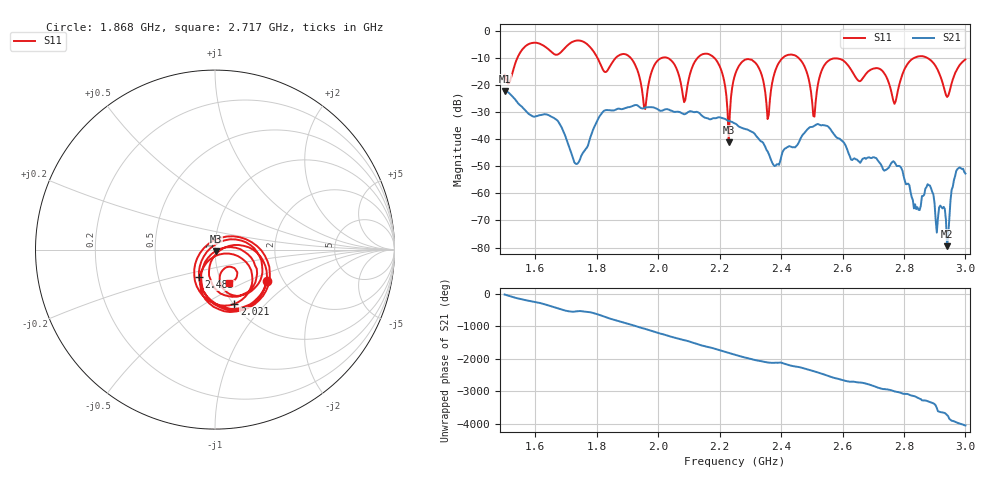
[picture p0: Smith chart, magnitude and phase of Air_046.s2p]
# HZ S RI R 50
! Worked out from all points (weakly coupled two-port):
!   404 points, 1.5 GHz to 3 GHz, reference 50 ohm
!   highest |S21| = -22.25 dB at 1.5 GHz (marker M1); lowest = -79.5 dB at 2.94 GHz (marker M2)
!   lowest |S11| = -41.2 dB at 2.23 GHz (marker M3), VSWR 1.02, Z = 50.3 - j0.804 ohm
!   |S11| at or under -10 dB: 2.182 GHz to 2.406 GHz (223.9 MHz wide, 9.76 % of centre); 2.456 GHz to 2.835 GHz (378.2 MHz wide, 14.3 % of centre); 2.875 GHz to end of sweep (the widest 3 of 7)
!   S12 and S22 are empty: the file has one direction only
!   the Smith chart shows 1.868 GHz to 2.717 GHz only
!   S11 on the Smith chart (normalised r, x): 1.868 GHz: 1.66, -0.66; 2.021 GHz: 1.01, -0.68; 2.483 GHz: 0.80, -0.25; 2.717 GHz: 1.09, -0.42
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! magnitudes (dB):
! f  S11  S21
! 1.5 GHz  -16.4  -22.2
! 1.753 GHz  -3.9  -45.4
! 1.868 GHz  -9.4  -28.8
! 1.958 GHz  -28.9  -28.4
! 2.002 GHz  -10.6  -29.3
! 2.021 GHz  -9.8  -29.1
! 2.084 GHz  -26.4  -30.9
! 2.177 GHz  -9.5  -32.4
! 2.23 GHz  -41.2  -33.3
! 2.252 GHz  -15.7  -34.3
! 2.315 GHz  -11.7  -38.2
! 2.356 GHz  -32.6  -44.5
! 2.382 GHz  -14.5  -49.8
! 2.483 GHz  -15.0  -36.7
! 2.501 GHz  -26.4  -35.5
! 2.561 GHz  -10.6  -36.3
! 2.717 GHz  -13.9  -48.2
! 2.751 GHz  -19.3  -50.5
! 2.862 GHz  -9.5  -61.0
! 2.94 GHz  -24.5  -79.5
! 2.97 GHz  -14.8  -51.7
! 3 GHz  -10.6  -52.7
